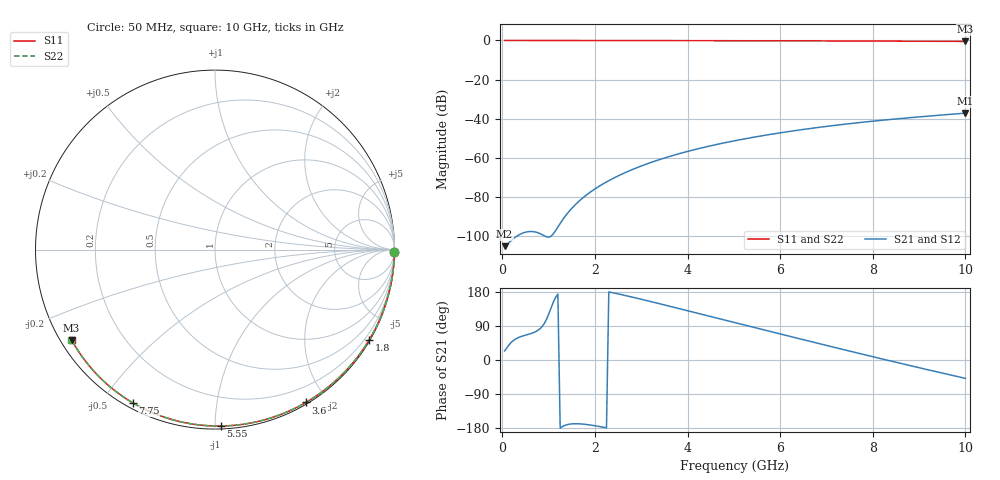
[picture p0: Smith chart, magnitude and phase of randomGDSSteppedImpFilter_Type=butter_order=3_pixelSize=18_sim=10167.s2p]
! freq	dB(S11)	phase(S11)	dB(S12)	phase(S12)
!  dB(S21)	phase(S21)	dB(S22)	phase(S22)
!S-par simulation data
#  GHz  S  DB  R 50
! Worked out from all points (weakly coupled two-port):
!   200 points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, 50 MHz to 10 GHz, reference 50 ohm
!   highest |S21| = -37.22 dB at 10 GHz (marker M1); lowest = -105.3 dB at 50 MHz (marker M2)
!   lowest |S11| = -0.5 dB at 10 GHz (marker M3), VSWR 34.90, Z = 1.55 - j14.4 ohm
!   |S11| at or under -10 dB: nowhere
!   |S22| runs from -0.5 to 0.0 dB; largest |S21 - S12| = 0
!   S11 on the Smith chart (normalised r, x): 50 MHz: open; 1.8 GHz: 0.03, -3.68; 3.6 GHz: 0.02, -1.76; 5.55 GHz: 0.02, -1.03; 7.75 GHz: 0.02, -0.60; 10 GHz: 0.03, -0.29
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0.05  -0.00 -0.9  -105.33 24.0  -105.33 24.0  -0.00 -0.9
0.45  -0.01 -7.7  -98.54 63.7  -98.54 63.7  -0.01 -7.7
0.9  -0.02 -15.3  -99.92 95.0  -99.92 95.0  -0.02 -15.4
1.3  -0.03 -22.1  -91.90 -175.5  -91.90 -175.5  -0.03 -22.1
1.75  -0.04 -29.6  -80.38 -169.3  -80.38 -169.3  -0.04 -29.6
1.8  -0.04 -30.4  -79.43 -169.9  -79.43 -169.9  -0.04 -30.4
1.95  -0.04 -32.8  -76.82 -172.4  -76.82 -172.4  -0.04 -32.9
2.1  -0.05 -35.3  -74.52 -175.5  -74.52 -175.5  -0.05 -35.3
2.3  -0.05 -38.6  -71.78 179.7  -71.78 179.7  -0.05 -38.6
2.5  -0.05 -41.8  -69.36 174.5  -69.36 174.5  -0.05 -41.8
2.9  -0.06 -48.2  -65.20 163.3  -65.20 163.3  -0.06 -48.3
3.4  -0.07 -56.1  -60.95 148.4  -60.95 148.4  -0.07 -56.2
3.6  -0.08 -59.2  -59.47 142.3  -59.47 142.3  -0.08 -59.3
4.3  -0.10 -69.9  -55.03 120.8  -55.03 120.8  -0.10 -69.9
5.05  -0.12 -81.0  -51.20 97.8  -51.20 97.8  -0.12 -81.0
5.55  -0.14 -88.2  -49.04 82.5  -49.04 82.5  -0.14 -88.2
6.1  -0.17 -95.9  -46.93 65.7  -46.93 65.7  -0.17 -96.0
6.7  -0.20 -104.2  -44.91 47.5  -44.91 47.5  -0.20 -104.2
7.75  -0.27 -118.3  -41.95 16.1  -41.95 16.1  -0.27 -118.3
8.35  -0.32 -126.2  -40.51 -1.6  -40.51 -1.6  -0.32 -126.3
9.2  -0.41 -137.3  -38.73 -26.0  -38.73 -26.0  -0.41 -137.4
10  -0.50 -147.8  -37.22 -48.5  -37.22 -48.5  -0.50 -147.9
